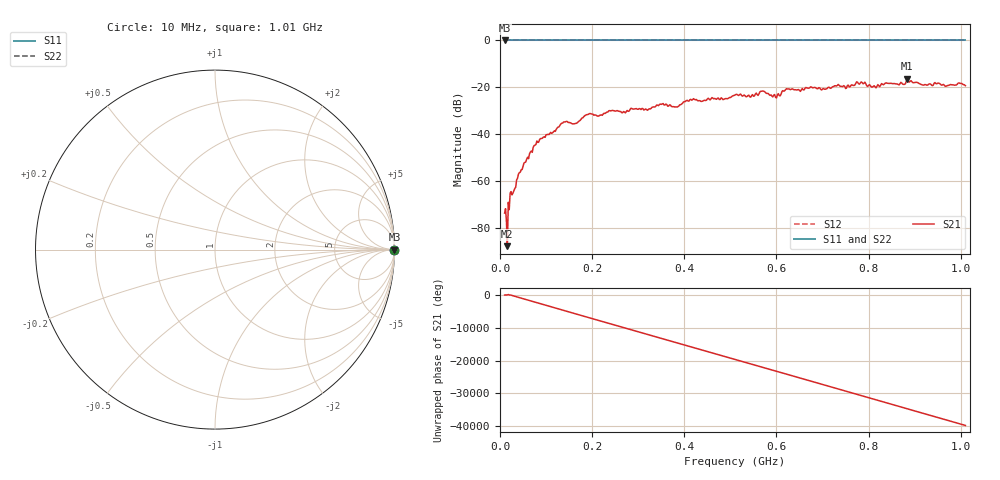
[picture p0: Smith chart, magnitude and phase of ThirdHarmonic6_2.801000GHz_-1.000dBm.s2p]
! 8/17/2025 7:18:07 AM
! C:\ANRITSUVNA\TEMP\TEMP.S2P
! CHANNEL.1
! TR.MEASUREMENT
! RAW.DATA
! RF.CORRECTION.OFF
! AVERAGING.OFF
! IF.BANDWIDTH: 5KHZ
! SWEEPTYPE:  FREQ.SWEEP(Linear)
! Reference Plane Port Info
! PORT:  PORT1  PORT2
! DISTANCE:  0  m  0  m
! TIME:  0  s  0  s
! PHASE.OFFSET:  0  deg.  0  deg.
! LOSS:  0  dB  0  dB
! REF.LOSS:  0  dB  0  dB
! REF.FREQ:  0  Hz  0  Hz
! Power Info
! POWER:  -20  dBm  -20  dBm
! EFF.POWER:  -20  dBm  -20  dBm
! SOURCE.ATTEN:  0  dB  0  dB
! TEST.ATTEN:  0  dB  0  dB
# GHZ S RI R 50.0
! FREQ.GHZ  S11RE  S11IM  S21RE  S21IM  S12RE  S12IM  S22RE  S22IM
!; PortSelection: Port_12
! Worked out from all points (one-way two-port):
!   501 points, 10 MHz to 1.01 GHz, reference 50 ohm
!   highest |S21| = -16.30 dB at 884 MHz (marker M1); lowest = -87.9 dB at 16 MHz (marker M2)
!   lowest |S11| = 0.0 dB at 10 MHz (marker M3)
!   |S11| at or under -10 dB: nowhere
!   |S22| runs from 0.0 to 0.0 dB; largest |S21 - S12| = 1.1
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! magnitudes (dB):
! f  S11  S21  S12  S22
! 10 MHz  0.0  -73.8  0.0  0.0
! 16 MHz  0.0  -87.9  0.0  0.0
! 22 MHz  0.0  -65.2  0.0  0.0
! 40 MHz  0.0  -57.1  0.0  0.0
! 76 MHz  0.0  -44.8  0.0  0.0
! 136 MHz  0.0  -35.3  0.0  0.0
! 162 MHz  0.0  -35.6  0.0  0.0
! 178 MHz  0.0  -33.1  0.0  0.0
! 192 MHz  0.0  -31.6  0.0  0.0
! 322 MHz  0.0  -29.5  0.0  0.0
! 344 MHz  0.0  -27.9  0.0  0.0
! 382 MHz  0.0  -28.3  0.0  0.0
! 416 MHz  0.0  -25.5  0.0  0.0
! 510 MHz  0.0  -23.3  0.0  0.0
! 546 MHz  0.0  -23.6  0.0  0.0
! 570 MHz  0.0  -21.6  0.0  0.0
! 596 MHz  0.0  -23.1  0.0  0.0
! 624 MHz  0.0  -20.7  0.0  0.0
! 678 MHz  0.0  -20.2  0.0  0.0
! 844 MHz  0.0  -18.4  0.0  0.0
! 884 MHz  0.0  -16.3  0.0  0.0
! 1.01 GHz  0.0  -19.3  0.0  0.0
